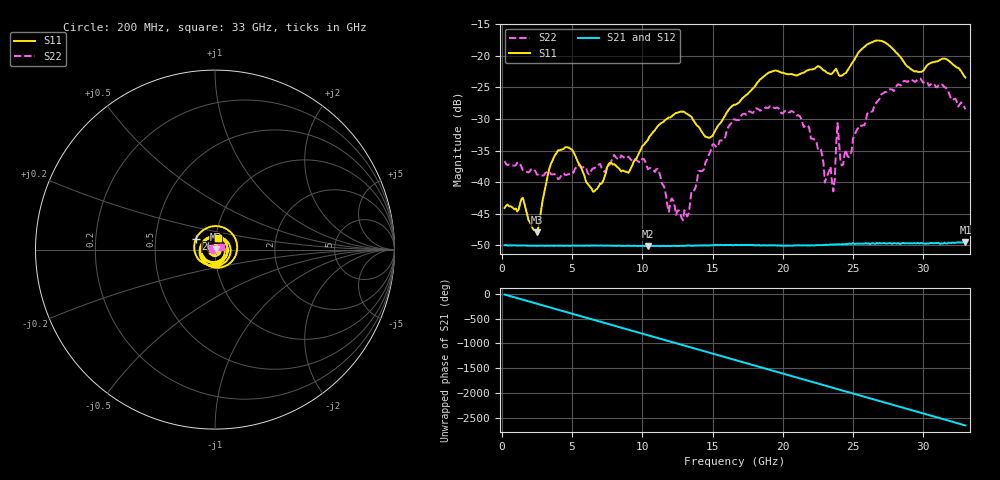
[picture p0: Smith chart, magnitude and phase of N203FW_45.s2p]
# GHZ S RI R 50
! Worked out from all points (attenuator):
!   329 points, 200 MHz to 33 GHz, reference 50 ohm
!   highest |S21| = -49.46 dB at 33 GHz (marker M1); lowest = -50.1 dB at 10.4 GHz (marker M2)
!   lowest |S11| = -47.9 dB at 2.5 GHz (marker M3), VSWR 1.01, Z = 50.4 + j0.183 ohm
!   |S11| at or under -10 dB: start of sweep to end of sweep
!   |S22| runs from -46.0 to -23.6 dB; largest |S21 - S12| = 8.8e-05
!   S11 on the Smith chart (normalised r, x): 200 MHz: 1.01, +0.00; 26 GHz: 0.80, +0.10; 33 GHz: 1.02, +0.13
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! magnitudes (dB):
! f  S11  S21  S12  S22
! 200 MHz  -44.1  -50.0  -49.9  -36.7
! 1.5 GHz  -42.5  -50.0  -50.0  -38.1
! 2.5 GHz  -47.9  -50.1  -50.0  -38.8
! 4 GHz  -35.0  -50.1  -50.0  -39.5
! 5.7 GHz  -38.0  -50.0  -50.0  -37.7
! 6.6 GHz  -41.4  -50.0  -50.0  -37.8
! 10.4 GHz  -33.3  -50.1  -50.1  -38.0
! 11.2 GHz  -30.9  -50.1  -50.1  -38.4
! 11.9 GHz  -29.8  -50.1  -50.1  -44.7
! 12.9 GHz  -28.8  -50.0  -50.1  -46.0
! 14.7 GHz  -33.0  -50.0  -50.0  -35.9
! 16.6 GHz  -27.8  -49.9  -49.9  -30.1
! 19.6 GHz  -22.4  -50.0  -50.0  -28.2
! 22.1 GHz  -22.2  -50.0  -50.0  -33.1
! 23.4 GHz  -22.9  -49.8  -49.8  -37.5
! 23.6 GHz  -22.6  -49.9  -49.8  -41.5
! 23.9 GHz  -22.6  -49.8  -49.8  -30.6
! 24.2 GHz  -23.2  -49.8  -49.8  -37.4
! 26 GHz  -18.2  -49.7  -49.7  -29.2
! 27.6 GHz  -18.4  -49.6  -49.6  -25.3
! 29.8 GHz  -22.6  -49.6  -49.7  -23.6
! 33 GHz  -23.4  -49.5  -49.5  -28.5
